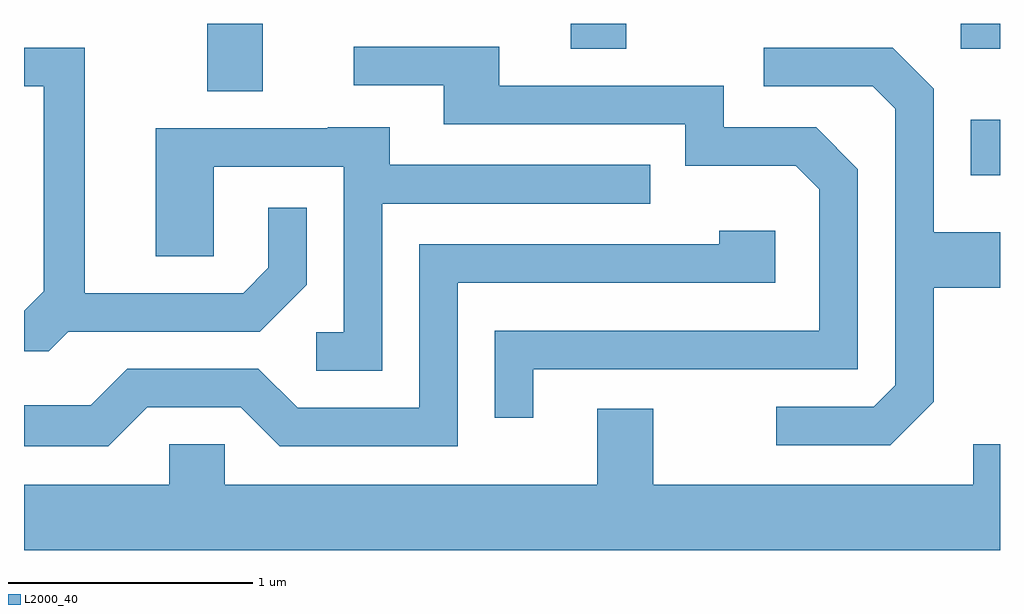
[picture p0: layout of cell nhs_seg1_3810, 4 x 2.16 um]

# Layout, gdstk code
import gdstk
lib = gdstk.Library(unit=1e-6, precision=1e-09)
def R(c, l, rs):  # rectangles x0, y0, x1, y1
    for r in rs: c.add(gdstk.rectangle(r[:2], r[2:], *l))
def P(c, l, *ps):  # polygons
    for p in ps: c.add(gdstk.Polygon(p, *l))
L2000_40 = (2000, 40)

nhs_seg1_3810 = lib.new_cell('nhs_seg1_3810')
R(nhs_seg1_3810, L2000_40, [(303.491,921.091,303.611,921.319), (300.361,921.436,300.589,921.712), (301.851,921.611,302.079,921.712), (303.451,921.611,303.611,921.712)])
P(nhs_seg1_3810, L2000_40, [(301.699,920.296),(303.029,920.296),(303.029,921.117),(302.857,921.289),(302.479,921.289),(302.479,921.459),(301.559,921.459),(301.559,921.619),(300.963,921.619),(300.963,921.461),(301.331,921.461),(301.331,921.301),(302.321,921.301),(302.321,921.131),(302.774,921.131),(302.871,921.034),(302.871,920.454),(301.541,920.454),(301.541,920.098),(301.699,920.098)],
  [(303.339,920.164),(303.339,920.631),(303.611,920.631),(303.611,920.859),(303.339,920.859),(303.339,921.447),(303.172,921.614),(302.643,921.614),(302.643,921.456),(303.089,921.456),(303.181,921.364),(303.181,920.232),(303.094,920.144),(302.693,920.144),(302.693,919.986),(303.162,919.986)],
  [(299.792,920.451),(300.577,920.451),(300.769,920.644),(300.769,920.958),(300.611,920.958),(300.611,920.712),(300.509,920.609),(299.859,920.609),(299.859,921.614),(299.611,921.614),(299.611,921.456),(299.691,921.456),(299.691,920.617),(299.611,920.536),(299.611,920.371),(299.712,920.371)],
  [(301.079,920.976),(302.178,920.976),(302.178,921.134),(301.109,921.134),(301.109,921.289),(300.855,921.289),(300.855,921.284),(300.151,921.284),(300.151,920.761),(300.389,920.761),(300.389,921.126),(300.921,921.126),(300.921,920.449),(300.808,920.449),(300.808,920.291),(301.079,920.291)],
  [(300.117,920.141),(300.499,920.141),(300.659,919.981),(301.389,919.981),(301.389,920.651),(302.689,920.651),(302.689,920.864),(302.461,920.864),(302.461,920.809),(301.231,920.809),(301.231,920.139),(300.732,920.139),(300.572,920.299),(300.034,920.299),(299.884,920.149),(299.611,920.149),(299.611,919.981),(299.957,919.981)],
  [(303.611,919.989),(303.501,919.989),(303.501,919.824),(302.189,919.824),(302.189,920.134),(301.961,920.134),(301.961,919.824),(300.434,919.824),(300.434,919.989),(300.206,919.989),(300.206,919.824),(299.611,919.824),(299.611,919.556),(303.611,919.556)])

lib.write_gds('nhs_seg1_3810.gds')
